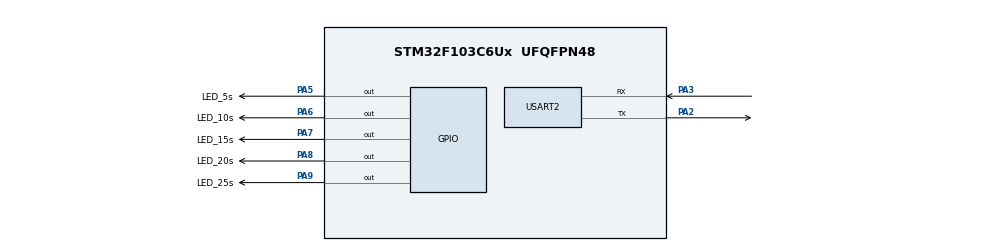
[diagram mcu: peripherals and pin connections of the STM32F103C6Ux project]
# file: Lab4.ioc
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IWDG.Prescaler=IWDG_PRESCALER_32
Mcu.Family=STM32F1
Mcu.Name=STM32F103C6Ux
Mcu.Package=UFQFPN48
NVIC.PriorityGroup=NVIC_PRIORITYGROUP_4
NVIC.TIM2_IRQn=true\:0\:0\:false\:false\:true\:true\:true
PA2.Mode=Asynchronous
PA2.Signal=USART2_TX
PA3.Mode=Asynchronous
PA3.Signal=USART2_RX
PA5.GPIO_Label=LED_5s
PA5.Signal=GPIO_Output
PA6.GPIO_Label=LED_10s
PA6.Signal=GPIO_Output
PA7.GPIO_Label=LED_15s
PA7.Signal=GPIO_Output
PA8.GPIO_Label=LED_20s
PA8.Signal=GPIO_Output
PA9.GPIO_Label=LED_25s
PA9.Signal=GPIO_Output
ProjectManager.HeapSize=0x200
ProjectManager.StackSize=0x400
ProjectManager.TargetToolchain=STM32CubeIDE
RCC.APB1Freq_Value=8000000
RCC.APB2Freq_Value=8000000
TIM2.Period=9
TIM2.Prescaler=7999
USART2.VirtualMode=VM_ASYNC
VP_IWDG_VS_IWDG.Mode=IWDG_Activate
VP_SYS_VS_ND.Mode=No_Debug
VP_TIM2_VS_ClockSourceINT.Mode=Internal
board=custom

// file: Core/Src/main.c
/* USER CODE BEGIN Header */
/**
  ******************************************************************************
  * @file           : main.c
  * @brief          : Main program body
  ******************************************************************************
  * @attention
  *
  * <h2><center>&copy; Copyright (c) 2026 STMicroelectronics.
  * All rights reserved.</center></h2>
  *
  * This software component is licensed by ST under BSD 3-Clause license,
  * the "License"; You may not use this file except in compliance with the
  * License. You may obtain a copy of the License at:
  *                        opensource.org/licenses/BSD-3-Clause
  *
  ******************************************************************************
  */
/* USER CODE END Header */
#include "main.h"
#include <stdio.h>
#include <string.h>

/* USER CODE BEGIN PTD */
typedef struct {
    void (*pTask)(void);
    uint32_t Delay;
    uint32_t Period;
    uint8_t  RunMe;
    uint32_t TaskID;
    uint32_t TriggerTime;
} sTask;
/* USER CODE END PTD */

/* USER CODE BEGIN PD */
#define SCH_MAX_TASKS   10
#define NO_TASK_ID      0

#define ERROR_SCH_TOO_MANY_TASKS            1
#define ERROR_SCH_CANNOT_DELETE_TASK        2
#define RETURN_NORMAL                       0
#define RETURN_ERROR                        1
#define SCH_REPORT_ERRORS
/* USER CODE END PD */

IWDG_HandleTypeDef hiwdg;

TIM_HandleTypeDef htim2;

UART_HandleTypeDef huart2;

/* USER CODE BEGIN PV */
sTask SCH_tasks_G[SCH_MAX_TASKS];
static uint32_t current_task_id = 1;
static volatile uint32_t system_time_ms = 0;
uint32_t current_task_trigger_time = 0;

uint8_t Error_code_G = 0;
static uint8_t Last_error_code_G = 0;
static uint32_t Error_tick_count_G = 0;
/* USER CODE END PV */

void SystemClock_Config(void);
static void MX_GPIO_Init(void);
static void MX_IWDG_Init(void);
static void MX_TIM2_Init(void);
static void MX_USART2_UART_Init(void);
/* USER CODE BEGIN PFP */
void SCH_Init(void);
void SCH_Update(void);
void SCH_Dispatch_Tasks(void);
uint32_t SCH_Add_Task(void (*pFunction)(void), uint32_t DELAY, uint32_t PERIOD);
uint8_t SCH_Delete_Task(uint32_t taskID);

void SCH_Report_Status(void);
void SCH_Go_To_Sleep(void);

uint32_t get_time(void);
void Print_Time_Screen(char* message);

void Callback_LED_05s(void);
void Callback_LED_10s(void);
void Callback_LED_15s(void);
void Callback_LED_20s(void);
void Callback_LED_25s(void);
/* USER CODE END PFP */

int main(void)
{

  /* MCU Configuration--------------------------------------------------------*/

  /* Reset of all peripherals, Initializes the Flash interface and the Systick. */
  HAL_Init();

  /* Configure the system clock */
  SystemClock_Config();

  /* Initialize all configured peripherals */
  MX_GPIO_Init();
  MX_IWDG_Init();
  MX_TIM2_Init();
  MX_USART2_UART_Init();
  /* USER CODE BEGIN 2 */
   SCH_Init();

   // Đăng ký 5 Task chạy định kỳ (1 tick = 10ms)
   SCH_Add_Task(Callback_LED_05s, 50, 50);   // 50 ticks  = 500ms
   SCH_Add_Task(Callback_LED_10s, 100, 100); // 100 ticks = 1000ms
   SCH_Add_Task(Callback_LED_15s, 150, 150); // 150 ticks = 1500ms
   SCH_Add_Task(Callback_LED_20s, 200, 200); // 200 ticks = 2000ms
   SCH_Add_Task(Callback_LED_25s, 250, 250); // 250 ticks = 2500ms

   // Kích hoạt ngắt Timer 2
   HAL_TIM_Base_Start_IT(&htim2);
   /* USER CODE END 2 */

  /* Infinite loop */
  /* USER CODE BEGIN WHILE */
  while (1)
  {
	  SCH_Dispatch_Tasks();
    /* USER CODE END WHILE */

  }
}

void SystemClock_Config(void)
{
  RCC_OscInitTypeDef RCC_OscInitStruct = {0};
  RCC_ClkInitTypeDef RCC_ClkInitStruct = {0};

  /** Initializes the RCC Oscillators according to the specified parameters
  * in the RCC_OscInitTypeDef structure.
  */
  RCC_OscInitStruct.OscillatorType = RCC_OSCILLATORTYPE_HSI|RCC_OSCILLATORTYPE_LSI;
  RCC_OscInitStruct.HSIState = RCC_HSI_ON;
  RCC_OscInitStruct.HSICalibrationValue = RCC_HSICALIBRATION_DEFAULT;
  RCC_OscInitStruct.LSIState = RCC_LSI_ON;
  RCC_OscInitStruct.PLL.PLLState = RCC_PLL_NONE;
  if (HAL_RCC_OscConfig(&RCC_OscInitStruct) != HAL_OK)
  {
    Error_Handler();
  }
  /** Initializes the CPU, AHB and APB buses clocks
  */
  RCC_ClkInitStruct.ClockType = RCC_CLOCKTYPE_HCLK|RCC_CLOCKTYPE_SYSCLK
                              |RCC_CLOCKTYPE_PCLK1|RCC_CLOCKTYPE_PCLK2;
  RCC_ClkInitStruct.SYSCLKSource = RCC_SYSCLKSOURCE_HSI;
  RCC_ClkInitStruct.AHBCLKDivider = RCC_SYSCLK_DIV1;
  RCC_ClkInitStruct.APB1CLKDivider = RCC_HCLK_DIV1;
  RCC_ClkInitStruct.APB2CLKDivider = RCC_HCLK_DIV1;

  if (HAL_RCC_ClockConfig(&RCC_ClkInitStruct, FLASH_LATENCY_0) != HAL_OK)
  {
    Error_Handler();
  }
}

static void MX_IWDG_Init(void)
{

  hiwdg.Instance = IWDG;
  hiwdg.Init.Prescaler = IWDG_PRESCALER_32;
  hiwdg.Init.Reload = 4095;
  if (HAL_IWDG_Init(&hiwdg) != HAL_OK)
  {
    Error_Handler();
  }

}

static void MX_TIM2_Init(void)
{

  TIM_ClockConfigTypeDef sClockSourceConfig = {0};
  TIM_MasterConfigTypeDef sMasterConfig = {0};

  htim2.Instance = TIM2;
  htim2.Init.Prescaler = 7999;
  htim2.Init.CounterMode = TIM_COUNTERMODE_UP;
  htim2.Init.Period = 9;
  htim2.Init.ClockDivision = TIM_CLOCKDIVISION_DIV1;
  htim2.Init.AutoReloadPreload = TIM_AUTORELOAD_PRELOAD_DISABLE;
  if (HAL_TIM_Base_Init(&htim2) != HAL_OK)
  {
    Error_Handler();
  }
  sClockSourceConfig.ClockSource = TIM_CLOCKSOURCE_INTERNAL;
  if (HAL_TIM_ConfigClockSource(&htim2, &sClockSourceConfig) != HAL_OK)
  {
    Error_Handler();
  }
  sMasterConfig.MasterOutputTrigger = TIM_TRGO_RESET;
  sMasterConfig.MasterSlaveMode = TIM_MASTERSLAVEMODE_DISABLE;
  if (HAL_TIMEx_MasterConfigSynchronization(&htim2, &sMasterConfig) != HAL_OK)
  {
    Error_Handler();
  }

}

static void MX_USART2_UART_Init(void)
{

  huart2.Instance = USART2;
  huart2.Init.BaudRate = 115200;
  huart2.Init.WordLength = UART_WORDLENGTH_8B;
  huart2.Init.StopBits = UART_STOPBITS_1;
  huart2.Init.Parity = UART_PARITY_NONE;
  huart2.Init.Mode = UART_MODE_TX_RX;
  huart2.Init.HwFlowCtl = UART_HWCONTROL_NONE;
  huart2.Init.OverSampling = UART_OVERSAMPLING_16;
  if (HAL_UART_Init(&huart2) != HAL_OK)
  {
    Error_Handler();
  }

}

static void MX_GPIO_Init(void)
{
  GPIO_InitTypeDef GPIO_InitStruct = {0};

  /* GPIO Ports Clock Enable */
  __HAL_RCC_GPIOA_CLK_ENABLE();

  /*Configure GPIO pin Output Level */
  HAL_GPIO_WritePin(GPIOA, LED_5s_Pin|LED_10s_Pin|LED_15s_Pin|LED_20s_Pin
                          |LED_25s_Pin, GPIO_PIN_RESET);

  /*Configure GPIO pins : LED_5s_Pin LED_10s_Pin LED_15s_Pin LED_20s_Pin
                           LED_25s_Pin */
  GPIO_InitStruct.Pin = LED_5s_Pin|LED_10s_Pin|LED_15s_Pin|LED_20s_Pin
                          |LED_25s_Pin;
  GPIO_InitStruct.Mode = GPIO_MODE_OUTPUT_PP;
  GPIO_InitStruct.Pull = GPIO_NOPULL;
  GPIO_InitStruct.Speed = GPIO_SPEED_FREQ_LOW;
  HAL_GPIO_Init(GPIOA, &GPIO_InitStruct);

}

/* USER CODE BEGIN 4 */
int __io_putchar(int ch) {
    HAL_UART_Transmit(&huart2, (uint8_t *)&ch, 1, 10);
    return ch;
}

uint32_t get_time(void) {
    return system_time_ms;
}

void Print_Time_Screen(char* message) {
    printf("[%lu ms] %s\r\n", current_task_trigger_time, message);
}

void SCH_Init(void) {
    for (uint8_t i = 0; i < SCH_MAX_TASKS; i++) {
        SCH_tasks_G[i].pTask  = 0;
        SCH_tasks_G[i].Delay  = 0;
        SCH_tasks_G[i].Period = 0;
        SCH_tasks_G[i].RunMe  = 0;
        SCH_tasks_G[i].TaskID = NO_TASK_ID;
    }
    Error_code_G = 0;
}

#define ENTER_CRITICAL()  uint32_t primask_ = __get_PRIMASK(); __disable_irq()
#define EXIT_CRITICAL()   __set_PRIMASK(primask_)

void SCH_Update(void) {
    HAL_IWDG_Refresh(&hiwdg);
    system_time_ms += 10;

    uint8_t i = 0;
    while (i < SCH_MAX_TASKS && SCH_tasks_G[i].pTask != 0 && SCH_tasks_G[i].Delay == 0) {
        i++;
    }

    if (i < SCH_MAX_TASKS && SCH_tasks_G[i].pTask != 0) {
        SCH_tasks_G[i].Delay--;
    }

    for (uint8_t j = 0; j < SCH_MAX_TASKS && SCH_tasks_G[j].pTask != 0 && SCH_tasks_G[j].Delay == 0; j++) {
        if (SCH_tasks_G[j].RunMe == 0) {
            SCH_tasks_G[j].RunMe = 1;
            SCH_tasks_G[j].TriggerTime = system_time_ms;
        }
    }
}

static uint32_t SCH_Insert(void (*pFunction)(void), uint32_t DELAY, uint32_t PERIOD, uint32_t id) {
    uint8_t Index = 0;

    if (SCH_tasks_G[SCH_MAX_TASKS - 1].pTask != 0) {
        Error_code_G = ERROR_SCH_TOO_MANY_TASKS;
        return NO_TASK_ID;
    }

    while ((Index < SCH_MAX_TASKS) && (SCH_tasks_G[Index].pTask != 0)) {
        if (SCH_tasks_G[Index].Delay > 0) {
            if (DELAY >= SCH_tasks_G[Index].Delay) {
                DELAY -= SCH_tasks_G[Index].Delay;
            } else {
                break;
            }
        }
        Index++;
    }

    for (uint8_t i = SCH_MAX_TASKS - 1; i > Index; i--) {
        SCH_tasks_G[i] = SCH_tasks_G[i - 1];
    }

    SCH_tasks_G[Index].pTask       = pFunction;
    SCH_tasks_G[Index].Delay       = DELAY;
    SCH_tasks_G[Index].Period      = PERIOD;
    SCH_tasks_G[Index].RunMe       = 0;
    SCH_tasks_G[Index].TaskID      = id;
    SCH_tasks_G[Index].TriggerTime = 0;

    if (Index + 1 < SCH_MAX_TASKS && SCH_tasks_G[Index + 1].pTask != 0) {
        SCH_tasks_G[Index + 1].Delay -= DELAY;
    }

    return id;
}

uint32_t SCH_Add_Task(void (*pFunction)(void), uint32_t DELAY, uint32_t PERIOD) {
    ENTER_CRITICAL();
    uint32_t id = SCH_Insert(pFunction, DELAY, PERIOD, current_task_id);
    if (id != NO_TASK_ID) {
        current_task_id++;
    }
    EXIT_CRITICAL();
    return id;
}

void SCH_Dispatch_Tasks(void) {
    uint8_t ran = 0;

    if (SCH_tasks_G[0].RunMe > 0) {
        ran = 1;
        sTask tempTask = SCH_tasks_G[0];
        current_task_trigger_time = tempTask.TriggerTime;
        (*tempTask.pTask)();

        ENTER_CRITICAL();
        for (uint8_t i = 0; i < SCH_MAX_TASKS - 1; i++) {
            SCH_tasks_G[i] = SCH_tasks_G[i + 1];
        }
        SCH_tasks_G[SCH_MAX_TASKS - 1].pTask  = 0;
        SCH_tasks_G[SCH_MAX_TASKS - 1].Delay  = 0;
        SCH_tasks_G[SCH_MAX_TASKS - 1].Period = 0;
        SCH_tasks_G[SCH_MAX_TASKS - 1].RunMe  = 0;
        SCH_tasks_G[SCH_MAX_TASKS - 1].TaskID = NO_TASK_ID;

        if (tempTask.Period > 0) {
            uint32_t next_due  = tempTask.TriggerTime + tempTask.Period * 10;
            int32_t  delay_ms  = (int32_t)(next_due - system_time_ms);
            uint32_t delay_tk  = (delay_ms > 0) ? ((uint32_t)delay_ms / 10) : 1;
            if (delay_tk == 0) delay_tk = 1;
            SCH_Insert(tempTask.pTask, delay_tk, tempTask.Period, tempTask.TaskID);
        }
        EXIT_CRITICAL();
    }

    SCH_Report_Status();
    if (!ran) {
        SCH_Go_To_Sleep();
    }
}

uint8_t SCH_Delete_Task(uint32_t taskID) {
    uint8_t Index = 0;
    uint8_t Return_code = RETURN_ERROR;

    if (taskID == NO_TASK_ID) return RETURN_ERROR;

    ENTER_CRITICAL();
    for (Index = 0; Index < SCH_MAX_TASKS; Index++) {
        if (SCH_tasks_G[Index].TaskID == taskID) {
            Return_code = RETURN_NORMAL;
            break;
        }
    }

    if (Return_code == RETURN_NORMAL) {
        if (Index + 1 < SCH_MAX_TASKS && SCH_tasks_G[Index + 1].pTask != 0) {
            SCH_tasks_G[Index + 1].Delay += SCH_tasks_G[Index].Delay;
        }

        for (uint8_t i = Index; i < SCH_MAX_TASKS - 1; i++) {
            SCH_tasks_G[i] = SCH_tasks_G[i + 1];
        }

        SCH_tasks_G[SCH_MAX_TASKS - 1].pTask  = 0;
        SCH_tasks_G[SCH_MAX_TASKS - 1].Delay  = 0;
        SCH_tasks_G[SCH_MAX_TASKS - 1].Period = 0;
        SCH_tasks_G[SCH_MAX_TASKS - 1].RunMe  = 0;
        SCH_tasks_G[SCH_MAX_TASKS - 1].TaskID = NO_TASK_ID;
    } else {
        Error_code_G = ERROR_SCH_CANNOT_DELETE_TASK;
    }
    EXIT_CRITICAL();

    return Return_code;
}

void SCH_Go_To_Sleep(void) {
    HAL_PWR_EnterSLEEPMode(PWR_MAINREGULATOR_ON, PWR_SLEEPENTRY_WFI);
}

void SCH_Report_Status(void) {
#ifdef SCH_REPORT_ERRORS
    if (Error_code_G != Last_error_code_G) {
        Last_error_code_G = Error_code_G;
        if (Error_code_G != 0) {
            Error_tick_count_G = 60000;
        } else {
            Error_tick_count_G = 0;
        }
    } else {
        if (Error_tick_count_G != 0) {
            if (--Error_tick_count_G == 0) {
                Error_code_G = 0;
            }
        }
    }
#endif
}

void HAL_TIM_PeriodElapsedCallback(TIM_HandleTypeDef *htim) {
    if (htim->Instance == TIM2) {
        SCH_Update();
    }
}

void Callback_LED_05s(void) {
    HAL_GPIO_TogglePin(GPIOA, LED_5s_Pin);
    Print_Time_Screen("Task 0.5s Run");
}

void Callback_LED_10s(void) {
    HAL_GPIO_TogglePin(GPIOA, LED_10s_Pin);
    Print_Time_Screen("Task 1.0s Run");
}

void Callback_LED_15s(void) {
    HAL_GPIO_TogglePin(GPIOA, LED_15s_Pin);
    Print_Time_Screen("Task 1.5s Run");
}

void Callback_LED_20s(void) {
    HAL_GPIO_TogglePin(GPIOA, LED_20s_Pin);
    Print_Time_Screen("Task 2.0s Run");
}

void Callback_LED_25s(void) {
    HAL_GPIO_TogglePin(GPIOA, LED_25s_Pin);
    Print_Time_Screen("Task 2.5s Run");
}

/* USER CODE END 4 */
void Error_Handler(void)
{
  __disable_irq();
  while (1)
  {
  }
}

/************************ (C) COPYRIGHT STMicroelectronics *****END OF FILE****/
